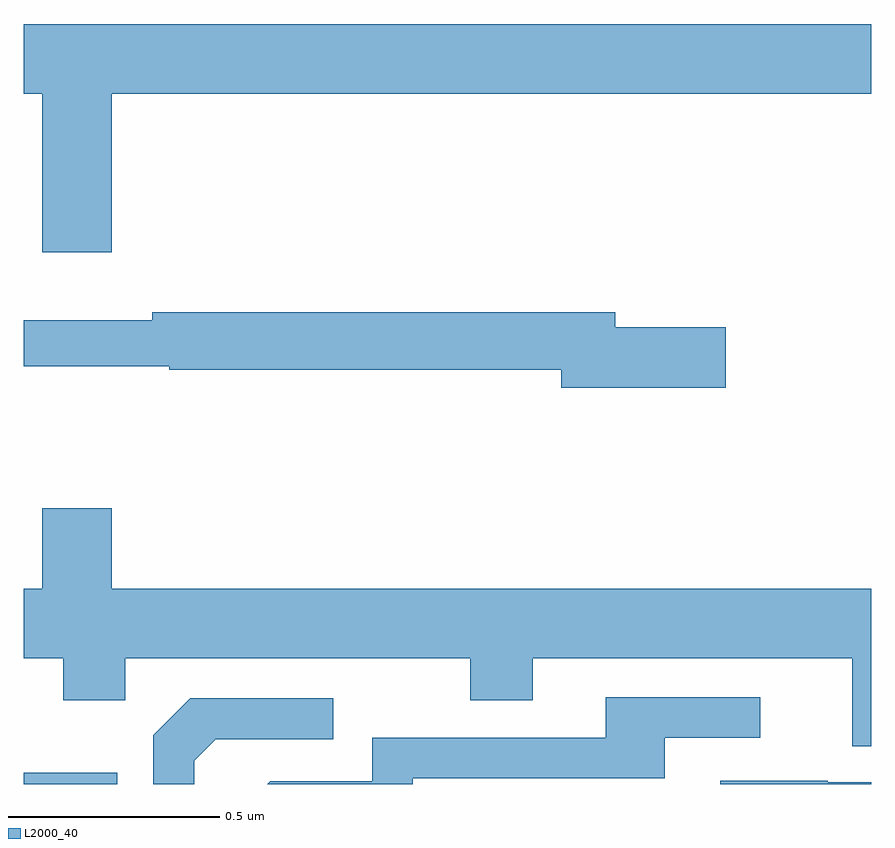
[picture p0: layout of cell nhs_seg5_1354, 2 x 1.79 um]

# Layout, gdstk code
import gdstk
lib = gdstk.Library(unit=1e-6, precision=1e-09)
def R(c, l, rs):  # rectangles x0, y0, x1, y1
    for r in rs: c.add(gdstk.rectangle(r[:2], r[2:], *l))
def P(c, l, *ps):  # polygons
    for p in ps: c.add(gdstk.Polygon(p, *l))
L2000_40 = (2000, 40)

nhs_seg5_1354 = lib.new_cell('nhs_seg5_1354')
R(nhs_seg5_1354, L2000_40, [(129,853.799,129.221,853.825)])
P(nhs_seg5_1354, L2000_40, [(129.208,855.428),(131,855.428),(131,855.592),(129,855.592),(129,855.428),(129.044,855.428),(129.044,855.054),(129.208,855.054)],
  [(130.657,854.876),(130.396,854.876),(130.396,854.912),(129.304,854.912),(129.304,854.893),(129,854.893),(129,854.784),(129.343,854.784),(129.343,854.776),(130.268,854.776),(130.268,854.734),(130.657,854.734)],
  [(131,854.26),(129.208,854.26),(129.208,854.449),(129.044,854.449),(129.044,854.26),(129,854.26),(129,854.096),(129.094,854.096),(129.094,853.997),(129.24,853.997),(129.24,854.096),(130.054,854.096),(130.054,853.997),(130.201,853.997),(130.201,854.096),(130.955,854.096),(130.955,853.888),(131,853.888)],
  [(129.918,853.812),(130.513,853.812),(130.513,853.908),(130.738,853.908),(130.738,854.004),(130.373,854.004),(130.373,853.908),(129.822,853.908),(129.822,853.806),(129.582,853.806),(129.575,853.799),(129.918,853.799)],
  [(129.402,853.854),(129.453,853.905),(129.73,853.905),(129.73,854.001),(129.393,854.001),(129.306,853.914),(129.306,853.799),(129.402,853.799)],
  [(131,853.803),(130.897,853.803),(130.897,853.807),(130.643,853.807),(130.643,853.799),(131,853.799)])

lib.write_gds('nhs_seg5_1354.gds')
